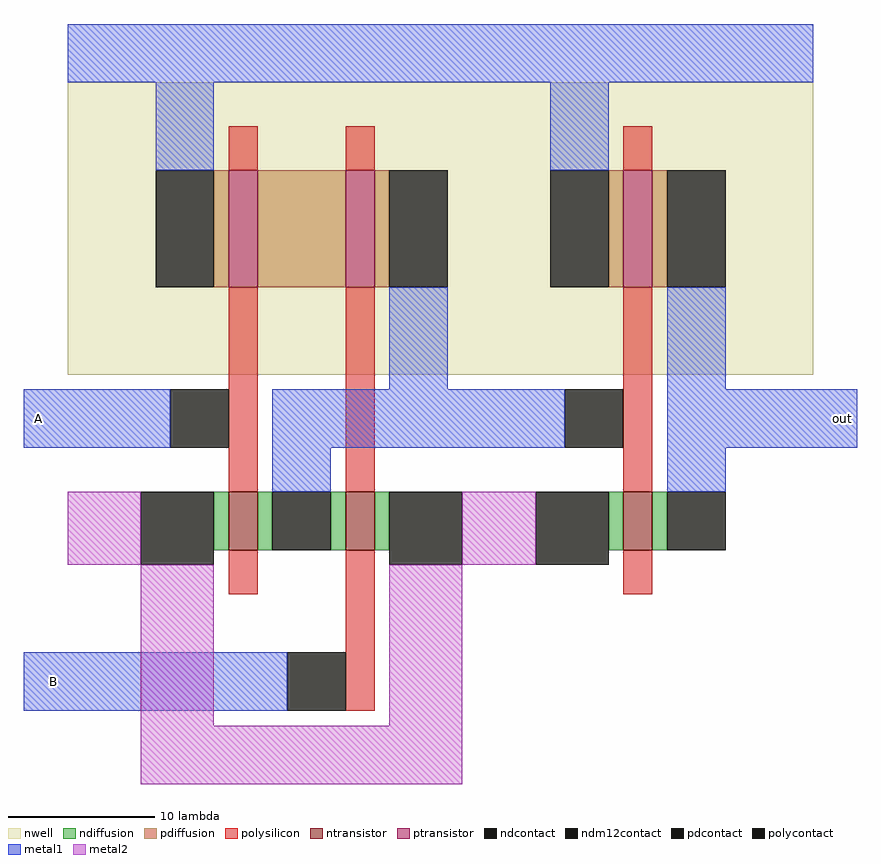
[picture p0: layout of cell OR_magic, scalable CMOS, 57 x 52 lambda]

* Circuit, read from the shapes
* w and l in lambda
.subckt OR_magic A B GND VDD out
M1 NOT_magic_0/in A GND VSUBS nfet w=4 l=2
M2 GND B NOT_magic_0/in VSUBS nfet w=4 l=2
M3 out NOT_magic_0/in GND VSUBS nfet w=4 l=2
M4 n1 A VDD n2 pfet w=8 l=2
M5 NOT_magic_0/in B n1 n2 pfet w=8 l=2
M6 out NOT_magic_0/in VDD n2 pfet w=8 l=2
.ends

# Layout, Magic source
magic
tech scmos
<< metal1 >>
rect -5 25 -2 29
rect 49 25 52 29
rect -5 7 -2 11
use NOT_magic  NOT_magic_0
transform 1 0 25 0 1 30
box 0 -15 24 24
use NOR_magic  NOR_magic_0
transform 1 0 -2 0 1 30
box 0 -28 32 24
<< labels >>
rlabel metal1 -3 9 -3 9 3 B
rlabel metal1 -4 27 -4 27 3 A
rlabel metal1 51 27 51 27 7 out
<< end >>

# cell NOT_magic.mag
magic
tech scmos
<< nwell >>
rect 0 0 24 20
<< ntransistor >>
rect 11 -12 13 -8
<< ptransistor >>
rect 11 6 13 14
<< ndiffusion >>
rect 10 -12 11 -8
rect 13 -12 14 -8
<< pdiffusion >>
rect 10 6 11 14
rect 13 6 14 14
<< ndcontact >>
rect 14 -12 18 -8
<< pdcontact >>
rect 6 6 10 14
rect 14 6 18 14
<< polysilicon >>
rect 11 14 13 17
rect 11 -8 13 6
rect 11 -15 13 -12
<< polycontact >>
rect 7 -5 11 -1
<< metal1 >>
rect 0 20 24 24
rect 6 14 10 20
rect 14 -1 18 6
rect 0 -5 7 -1
rect 14 -5 24 -1
rect 14 -8 18 -5
<< ndm12contact >>
rect 5 -13 10 -8
<< metal2 >>
rect 0 -13 5 -8
<< labels >>
rlabel metal1 0 20 24 24 5 VDD
rlabel metal2 0 -13 5 -8 2 GND
rlabel metal1 21 -3 21 -3 7 out
rlabel metal1 3 -3 3 -3 3 in
<< end >>

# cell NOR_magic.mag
magic
tech scmos
<< nwell >>
rect 0 0 32 20
<< ntransistor >>
rect 11 -12 13 -8
rect 19 -12 21 -8
<< ptransistor >>
rect 11 6 13 14
rect 19 6 21 14
<< ndiffusion >>
rect 10 -12 11 -8
rect 13 -12 14 -8
rect 18 -12 19 -8
rect 21 -12 22 -8
<< pdiffusion >>
rect 10 6 11 14
rect 13 6 19 14
rect 21 6 22 14
<< ndcontact >>
rect 14 -12 18 -8
<< pdcontact >>
rect 6 6 10 14
rect 22 6 26 14
<< polysilicon >>
rect 11 14 13 17
rect 19 14 21 17
rect 11 -8 13 6
rect 19 -8 21 6
rect 11 -15 13 -12
rect 19 -23 21 -12
<< polycontact >>
rect 7 -5 11 -1
rect 15 -23 19 -19
<< metal1 >>
rect 0 20 32 24
rect 6 14 10 20
rect 22 -1 26 6
rect 0 -5 7 -1
rect 14 -5 32 -1
rect 14 -8 18 -5
rect 0 -23 15 -19
<< ndm12contact >>
rect 5 -13 10 -8
rect 22 -13 27 -8
<< metal2 >>
rect 0 -13 5 -8
rect 5 -24 10 -13
rect 22 -24 27 -13
rect 5 -28 27 -24
<< labels >>
rlabel metal1 0 20 32 24 5 VDD
rlabel metal2 0 -13 5 -8 3 GND
rlabel metal1 2 -3 2 -3 3 A
rlabel metal1 3 -21 3 -21 3 B
rlabel metal1 30 -3 30 -3 7 out
<< end >>
